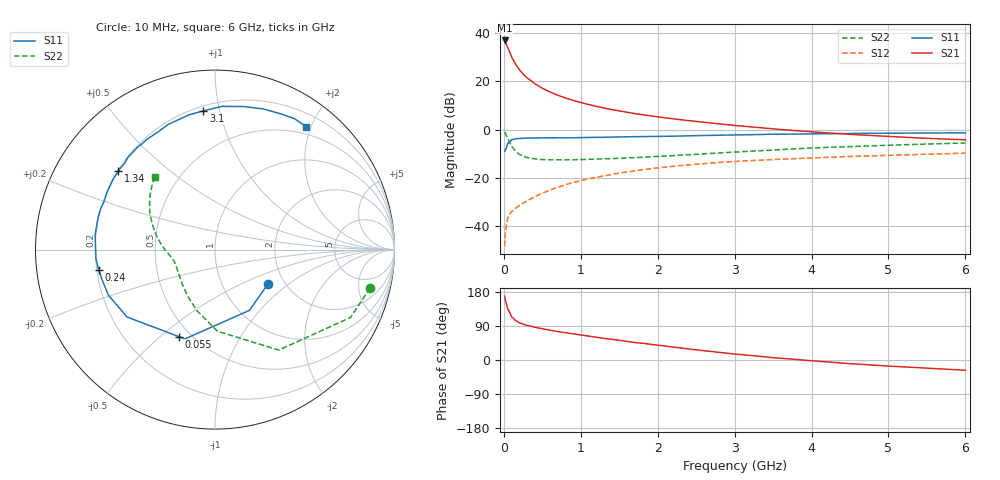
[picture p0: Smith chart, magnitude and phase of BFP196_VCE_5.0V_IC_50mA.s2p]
! Infineon Technologies  Discrete & RF Semiconductors
! BFP196
! VCE = 5.0 V,  IC =  50mA
! Common Emitter S-Parameters:  Jan 2016
# GHz  S  MA  R  50
!  f  S11  S21  S12  S22
! GHz  MAG  ANG  MAG  ANG  MAG  ANG  MAG  ANG
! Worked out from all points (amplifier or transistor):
!   210 points, 10 MHz to 6 GHz, reference 50 ohm
!   highest |S21| = 37.0 dB at 10 MHz (marker M1)
!   |S21| within 3 dB of that: start of sweep to 52.26 MHz
!   unconditionally stable (mu >= 1): 483 MHz to 4.47 GHz
!   at 185 MHz: K = 0.70, MSG = 28.7 dB, |S12| = -31.9 dB
!   at 1.52 GHz: K = 1.08, MAG = 11.1 dB, |S12| = -18.0 dB
!   at 6 GHz: K = 0.98, MSG = 2.8 dB, |S12| = -9.8 dB
!   S11 on the Smith chart (normalised r, x): 10 MHz: 1.64, -0.72; 55 MHz: 0.43, -0.58; 240 MHz: 0.21, -0.08; 1.34 GHz: 0.20, +0.34; 3.1 GHz: 0.23, +0.89; 6 GHz: 0.38, +1.93
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0.01  0.3518 -33.3  70.46 168.7  0.0038 80.3  0.8903 -13.9
0.02  0.3893 -60.5  65.84 157.4  0.0072 72.7  0.8445 -26.6
0.05  0.525 -108.6  50.81 134.1  0.0145 57.9  0.663 -57.6
0.055  0.5249 -112.4  48.78 132.8  0.015 56.6  0.6362 -59.7
0.1  0.6172 -142.5  32.3 114.1  0.0199 48.4  0.4547 -88.3
0.15  0.6459 -156.9  22.85 104.3  0.0232 48.2  0.3558 -106.1
0.2  0.6517 -165.5  17.54 98.3  0.0265 50.6  0.3071 -118.3
0.24  0.6574 -170.2  14.79 95.2  0.0291 52.8  0.2835 -125.8
0.26  0.6604 -172.2  13.65 93.8  0.0303 53.8  0.2752 -129.0
0.3  0.6653 -175.6  11.85 91.2  0.0329 55.6  0.2637 -134.2
0.4  0.6672 177.5  8.974 86.5  0.0403 58.6  0.246 -144.0
0.5  0.6729 172.8  7.178 82.5  0.0476 61.0  0.2383 -150.5
0.6  0.6735 168.0  5.992 78.6  0.0554 61.4  0.2355 -154.8
0.7  0.6759 163.9  5.153 74.9  0.0632 61.8  0.2348 -158.2
0.8  0.6762 160.2  4.511 71.9  0.0714 61.2  0.2354 -161.0
1.02  0.6813 151.7  3.555 65.3  0.0884 60.2  0.2385 -165.5
1.34  0.6931 141.0  2.713 56.3  0.1128 56.7  0.2474 -170.3
2.02  0.7221 121.3  1.811 38.6  0.1612 47.5  0.2782 -179.8
3.1  0.7754 94.8  1.176 13.9  0.2218 31.8  0.347 163.9
4.1  0.8154 76.9  0.873 -3.6  0.2613 19.2  0.42 149.9
5.1  0.8413 63.4  0.706 -17.1  0.2949 8.2  0.4771 139.0
6  0.8527 53.4  0.611 -27.0  0.323 -1.7  0.5254 129.6
